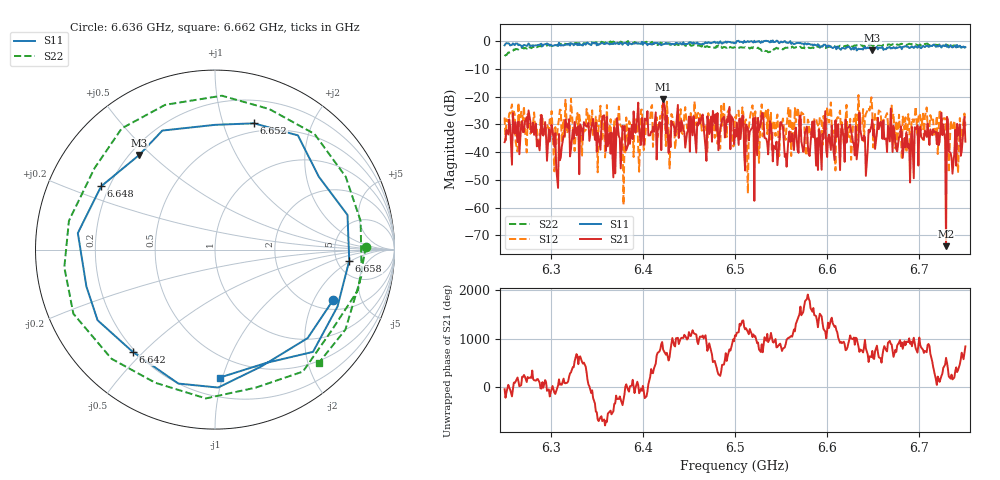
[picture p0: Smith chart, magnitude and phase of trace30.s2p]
# Hz S RI R 50
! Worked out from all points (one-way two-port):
!   401 points, 6.25 GHz to 6.75 GHz, reference 50 ohm
!   highest |S21| = -21.02 dB at 6.422 GHz (marker M1); lowest = -73.9 dB at 6.729 GHz (marker M2)
!   lowest |S11| = -3.4 dB at 6.649 GHz (marker M3), VSWR 5.16, Z = 11.8 + j22.9 ohm
!   |S11| at or under -10 dB: nowhere
!   |S22| runs from -5.4 to 0.0 dB; largest |S21 - S12| = 0.12
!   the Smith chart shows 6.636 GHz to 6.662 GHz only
!   S11 on the Smith chart (normalised r, x): 6.636 GHz: 2.48, -2.87; 6.642 GHz: 0.19, -0.46; 6.648 GHz: 0.17, +0.25; 6.652 GHz: 0.41, +1.27; 6.658 GHz: 6.49, -1.83; 6.662 GHz: 0.34, -0.98
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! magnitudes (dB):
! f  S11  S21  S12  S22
! 6.25 GHz  -1.5  -36.4  -27.6  -5.4
! 6.275 GHz  -1.5  -31.4  -26.3  -2.1
! 6.309 GHz  -0.6  -33.5  -28.1  -1.1
! 6.318 GHz  -1.2  -31.1  -33.3  -1.2
! 6.334 GHz  -1.5  -32.1  -41.3  -0.6
! 6.371 GHz  -0.9  -36.1  -28.9  -0.6
! 6.381 GHz  -0.8  -37.1  -40.1  -0.8
! 6.385 GHz  -0.8  -31.6  -28.9  -1.0
! 6.418 GHz  -1.1  -29.2  -29.0  -1.1
! 6.422 GHz  -1.2  -21.0  -26.1  -1.4
! 6.5 GHz  -0.6  -31.9  -27.4  -2.3
! 6.584 GHz  -1.3  -29.0  -29.1  -2.4
! 6.636 GHz  -2.9  -32.0  -31.1  -1.5
! 6.642 GHz  -2.7  -48.5  -26.3  -1.6
! 6.648 GHz  -2.8  -30.6  -20.3  -1.5
! 6.649 GHz  -3.4  -28.3  -25.3  -1.6
! 6.652 GHz  -2.7  -38.9  -26.3  -1.4
! 6.658 GHz  -2.5  -29.1  -25.6  -1.6
! 6.662 GHz  -2.9  -35.4  -28.7  -1.3
! 6.668 GHz  -2.2  -36.2  -34.8  -1.3
! 6.729 GHz  -1.3  -73.9  -35.2  -1.3
! 6.75 GHz  -2.2  -36.3  -30.7  -2.3
